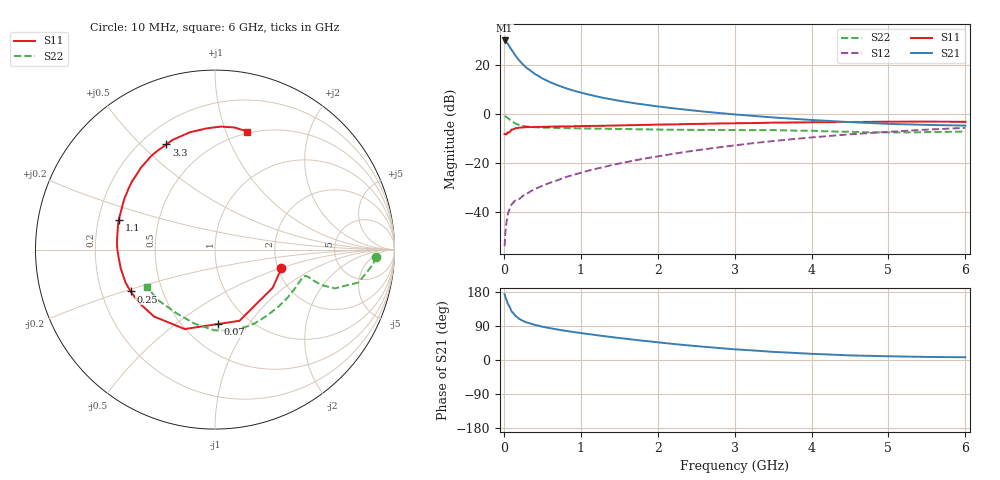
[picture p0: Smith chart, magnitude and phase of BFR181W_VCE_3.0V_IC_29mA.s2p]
! Infineon Technologies  Discrete & RF Semiconductors
! BFR181W
! VCE =  3.0 V,  IC =  29 mA
! Common Emitter S-Parameters:  Jan 2017
# GHz  S  MA  R  50
!  f  S11  S21  S12  S22
! GHz  MAG  ANG  MAG  ANG  MAG  ANG  MAG  ANG
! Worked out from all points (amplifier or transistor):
!   77 points, 10 MHz to 6 GHz, reference 50 ohm
!   highest |S21| = 29.8 dB at 10 MHz (marker M1)
!   |S21| within 3 dB of that: start of sweep to 83.22 MHz
!   unconditionally stable (mu >= 1): start of sweep to 14.9 MHz; 241.1 MHz to 2.806 GHz; 5.298 GHz to end of sweep
!   at 130 MHz: K = 0.69, MSG = 30.3 dB, |S12| = -36.0 dB
!   at 2.2 GHz: K = 1.12, MAG = 7.2 dB, |S12| = -16.4 dB
!   at 6 GHz: K = 1.04, MAG = -0.7 dB, |S12| = -5.8 dB
!   S11 on the Smith chart (normalised r, x): 10 MHz: 2.09, -0.51; 70 MHz: 0.72, -0.73; 250 MHz: 0.33, -0.21; 1.1 GHz: 0.29, +0.14; 3.3 GHz: 0.30, +0.60; 6 GHz: 0.48, +1.19
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0.01  0.3841 -15.8  30.93 173.8  0.002 80.2  0.8967 -2.5
0.02  0.3854 -33.4  30.3 166.5  0.0038 77.7  0.8839 -5.4
0.05  0.4196 -71.0  26.7 148.9  0.0087 67.1  0.82 -12.9
0.07  0.4153 -88.0  23.67 142.1  0.0108 62.9  0.7722 -14.7
0.1  0.4738 -110.9  19.98 128.4  0.0141 59.1  0.7022 -17.9
0.15  0.5043 -132.3  15.26 116.6  0.0171 56.6  0.6273 -18.4
0.2  0.5165 -144.8  12.09 108.6  0.0182 56.7  0.5858 -17.7
0.25  0.5249 -153.6  9.976 103.0  0.0213 58.3  0.5625 -17.0
0.3  0.5313 -159.9  8.451 98.8  0.0235 60.5  0.546 -16.4
0.4  0.5356 -168.7  6.477 92.6  0.029 64.6  0.5293 -16.2
0.5  0.5384 -175.0  5.222 87.9  0.0339 67.4  0.5198 -16.5
0.6  0.5441 -180.0  4.386 84.0  0.0391 70.4  0.5144 -17.2
0.7  0.5474 176.1  3.774 80.4  0.0441 73.6  0.51 -18.2
0.9  0.5531 168.6  2.962 74.0  0.0564 75.4  0.5038 -21.0
1.1  0.5612 162.7  2.452 68.4  0.0692 78.2  0.4983 -24.1
1.5  0.5755 152.4  1.829 58.1  0.0963 79.6  0.4865 -31.3
2.1  0.6007 138.6  1.344 44.6  0.1431 78.6  0.4722 -44.4
3.1  0.6389 118.7  0.938 27.0  0.2357 71.6  0.4625 -68.9
3.3  0.6457 114.8  0.886 24.4  0.2559 69.8  0.4609 -73.6
4.1  0.6689 100.5  0.729 15.5  0.3377 61.1  0.4424 -93.7
5.1  0.6859 86.0  0.613 9.5  0.436 48.5  0.4137 -125.1
6  0.6821 74.7  0.571 7.2  0.5144 36.9  0.4338 -151.3
